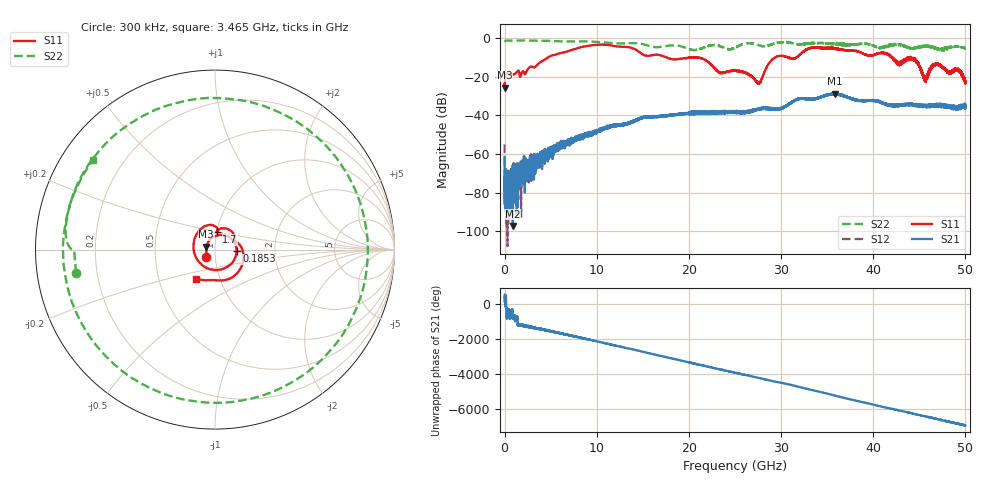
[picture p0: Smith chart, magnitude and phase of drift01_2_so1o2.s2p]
!Created with skrf (http://scikit-rf.org).
# Hz S RI R 50.0
!freq ReS11 ImS11 ReS21 ImS21 ReS12 ImS12 ReS22 ImS22
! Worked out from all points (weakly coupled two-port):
!   10001 points, 300 kHz to 50 GHz, reference 50 ohm
!   highest |S21| = -28.84 dB at 35.83 GHz (marker M1); lowest = -97.2 dB at 900.3 MHz (marker M2)
!   lowest |S11| = -25.8 dB at 5.3 MHz (marker M3), VSWR 1.11, Z = 45.3 + j1.42 ohm
!   |S11| at or under -10 dB: start of sweep to 4.764 GHz; 17.49 GHz to 29.41 GHz (11.92 GHz wide, 50.8 % of centre); 44.05 GHz to end of sweep (the widest 3 of 11)
!   |S22| runs from -6.7 to -1.4 dB; largest |S21 - S12| = 0.0035
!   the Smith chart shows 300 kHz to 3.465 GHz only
!   S11 on the Smith chart (normalised r, x): 300 kHz: 0.90, -0.08; 185.3 MHz: 1.27, -0.02; 1.7 GHz: 1.00, +0.20; 3.465 GHz: 0.77, -0.26
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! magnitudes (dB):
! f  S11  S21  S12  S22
! 300 kHz  -23.9  -61.5  -55.0  -2.1
! 5.3 MHz  -25.8  -78.7  -74.4  -2.1
! 185.3 MHz  -18.4  -68.7  -79.9  -1.4
! 900.3 MHz  -19.0  -97.2  -74.8  -1.5
! 1.7 GHz  -20.1  -71.5  -67.1  -1.4
! 3.465 GHz  -14.3  -64.5  -61.7  -1.5
! 8.335 GHz  -4.8  -51.3  -51.1  -1.8
! 16.67 GHz  -8.7  -40.7  -40.7  -4.8
! 21.14 GHz  -10.3  -38.0  -38.4  -5.9
! 25 GHz  -17.1  -37.8  -38.2  -5.1
! 27.59 GHz  -23.6  -36.7  -36.7  -3.9
! 29.28 GHz  -10.3  -37.1  -36.8  -2.8
! 31.45 GHz  -10.8  -32.4  -32.4  -3.0
! 33.34 GHz  -5.2  -31.7  -31.7  -2.7
! 35.83 GHz  -5.7  -28.8  -28.9  -3.4
! 41.67 GHz  -9.0  -34.7  -34.8  -4.3
! 42.74 GHz  -12.5  -34.9  -34.8  -3.3
! 44.44 GHz  -11.3  -35.0  -34.7  -5.2
! 45.63 GHz  -21.3  -34.9  -35.3  -4.3
! 46.91 GHz  -13.7  -34.7  -34.5  -5.2
! 49.25 GHz  -16.9  -35.8  -35.6  -4.6
! 50 GHz  -22.5  -36.5  -35.0  -5.4
